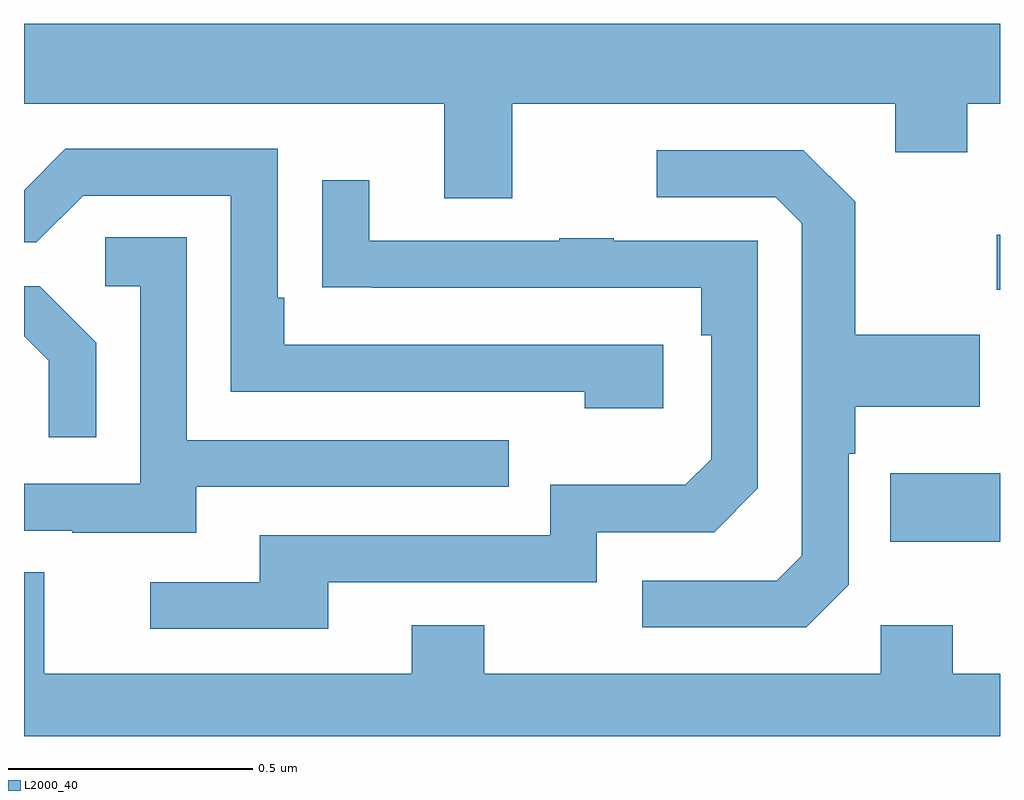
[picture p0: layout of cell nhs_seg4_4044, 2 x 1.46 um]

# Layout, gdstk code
import gdstk
lib = gdstk.Library(unit=1e-6, precision=1e-09)
def R(c, l, rs):  # rectangles x0, y0, x1, y1
    for r in rs: c.add(gdstk.rectangle(r[:2], r[2:], *l))
def P(c, l, *ps):  # polygons
    for p in ps: c.add(gdstk.Polygon(p, *l))
L2000_40 = (2000, 40)

nhs_seg4_4044 = lib.new_cell('nhs_seg4_4044')
R(nhs_seg4_4044, L2000_40, [(162.775,753.299,163,753.439), (162.993,753.815,163,753.928)])
P(nhs_seg4_4044, L2000_40, [(162.001,754.196),(162.785,754.196),(162.785,754.097),(162.933,754.097),(162.933,754.196),(163,754.196),(163,754.36),(161,754.36),(161,754.196),(161.861,754.196),(161.861,754.002),(162.001,754.002)],
  [(162.31,753.702),(161.533,753.702),(161.533,753.799),(161.52,753.799),(161.52,754.104),(161.085,754.104),(161,754.019),(161,753.912),(161.025,753.912),(161.121,754.008),(161.424,754.008),(161.424,753.606),(162.149,753.606),(162.149,753.572),(162.31,753.572)],
  [(162.69,753.21),(162.69,753.479),(162.703,753.479),(162.703,753.575),(162.959,753.575),(162.959,753.723),(162.703,753.723),(162.703,753.995),(162.597,754.101),(162.297,754.101),(162.297,754.005),(162.54,754.005),(162.594,753.951),(162.594,753.27),(162.543,753.219),(162.267,753.219),(162.267,753.123),(162.603,753.123)],
  [(161.623,753.216),(162.174,753.216),(162.174,753.318),(162.414,753.318),(162.504,753.408),(162.504,753.915),(162.209,753.915),(162.209,753.92),(162.097,753.92),(162.097,753.915),(161.707,753.915),(161.707,754.039),(161.611,754.039),(161.611,753.82),(161.713,753.82),(161.713,753.819),(162.388,753.819),(162.388,753.722),(162.408,753.722),(162.408,753.468),(162.355,753.415),(162.078,753.415),(162.078,753.312),(161.483,753.312),(161.483,753.216),(161.259,753.216),(161.259,753.12),(161.623,753.12)],
  [(161.353,753.411),(161.993,753.411),(161.993,753.507),(161.334,753.507),(161.334,753.923),(161.166,753.923),(161.166,753.822),(161.238,753.822),(161.238,753.417),(161,753.417),(161,753.321),(161.099,753.321),(161.099,753.317),(161.353,753.317)],
  [(161.148,753.706),(161.032,753.822),(161,753.822),(161,753.72),(161.051,753.669),(161.051,753.513),(161.148,753.513)],
  [(163,753.028),(162.903,753.028),(162.903,753.127),(162.756,753.127),(162.756,753.028),(161.943,753.028),(161.943,753.127),(161.795,753.127),(161.795,753.028),(161.041,753.028),(161.041,753.236),(161,753.236),(161,752.9),(163,752.9)])

lib.write_gds('nhs_seg4_4044.gds')
